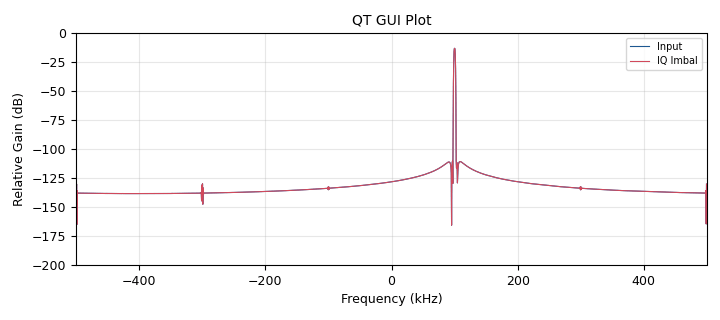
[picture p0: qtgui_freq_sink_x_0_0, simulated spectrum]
<?xml version='1.0' encoding='utf-8'?>
<?grc format='1' created='3.7.10'?>
<flow_graph>
<block>
<key>options</key>
<param><key>id</key><value>iqi</value></param>
<param><key>author</key><value>Alexandros-Apostolos A. Boulogeorgos</value></param>
<param><key>generate_options</key><value>qt_gui</value></param>
<param><key>title</key><value>I/Q imbalance</value></param>
</block>
<block>
<key>variable_qtgui_range</key>
<param><key>id</key><value>iq_mag</value></param>
<param><key>value</key><value>0</value></param>
<param><key>gui_hint</key><value>4,1,1,1</value></param>
<param><key>label</key><value>IQ Mag</value></param>
<param><key>orient</key><value>Qt.Horizontal</value></param>
<param><key>start</key><value>0</value></param>
<param><key>step</key><value>0.001</value></param>
<param><key>stop</key><value>1</value></param>
</block>
<block>
<key>variable_qtgui_range</key>
<param><key>id</key><value>iq_phase</value></param>
<param><key>value</key><value>0</value></param>
<param><key>gui_hint</key><value>3,1,1,1</value></param>
<param><key>label</key><value>IQ Phase</value></param>
<param><key>orient</key><value>Qt.Horizontal</value></param>
<param><key>start</key><value>-3.14</value></param>
<param><key>step</key><value>0.001</value></param>
<param><key>stop</key><value>3.14</value></param>
</block>
<block>
<key>variable_qtgui_range</key>
<param><key>id</key><value>noise_amp</value></param>
<param><key>value</key><value>-150</value></param>
<param><key>gui_hint</key><value>2,1,1,1</value></param>
<param><key>label</key><value>Noise Power</value></param>
<param><key>orient</key><value>Qt.Horizontal</value></param>
<param><key>start</key><value>-150</value></param>
<param><key>step</key><value>5</value></param>
<param><key>stop</key><value>0</value></param>
</block>
<block>
<key>variable</key>
<param><key>id</key><value>samp_rate</value></param>
<param><key>value</key><value>1000000</value></param>
</block>
<block>
<key>variable_qtgui_range</key>
<param><key>id</key><value>sigfreq</value></param>
<param><key>value</key><value>samp_rate/10.0</value></param>
<param><key>gui_hint</key><value>3,0,1,1</value></param>
<param><key>label</key><value>Signal Freq</value></param>
<param><key>orient</key><value>Qt.Horizontal</value></param>
<param><key>start</key><value>0</value></param>
<param><key>step</key><value>1000</value></param>
<param><key>stop</key><value>samp_rate/2</value></param>
</block>
<block>
<key>variable_qtgui_range</key>
<param><key>id</key><value>signal_amp</value></param>
<param><key>value</key><value>0</value></param>
<param><key>gui_hint</key><value>2,0,1,1</value></param>
<param><key>label</key><value>Singal Power</value></param>
<param><key>orient</key><value>Qt.Horizontal</value></param>
<param><key>start</key><value>-150</value></param>
<param><key>step</key><value>5</value></param>
<param><key>stop</key><value>10</value></param>
</block>
<block>
<key>analog_sig_source_x</key>
<param><key>id</key><value>analog_sig_source_x_0</value></param>
<param><key>amp</key><value>pow(10.0,signal_amp/20.0)</value></param>
<param><key>freq</key><value>sigfreq</value></param>
<param><key>offset</key><value>0</value></param>
<param><key>type</key><value>complex</value></param>
<param><key>samp_rate</key><value>samp_rate</value></param>
<param><key>waveform</key><value>analog.GR_COS_WAVE</value></param>
</block>
<block>
<key>blocks_throttle</key>
<param><key>id</key><value>blocks_throttle_0</value></param>
<param><key>samples_per_second</key><value>samp_rate</value></param>
<param><key>type</key><value>complex</value></param>
</block>
<block>
<key>channels_iqbal_gen</key>
<param><key>id</key><value>channels_iqbal_gen_0</value></param>
<param><key>mag</key><value>iq_mag</value></param>
<param><key>phase</key><value>iq_phase</value></param>
</block>
<block>
<key>import</key>
<param><key>id</key><value>import_0</value></param>
<param><key>import</key><value>import math</value></param>
</block>
<block>
<key>qtgui_freq_sink_x</key>
<param><key>id</key><value>qtgui_freq_sink_x_0_0</value></param>
<param><key>bw</key><value>samp_rate</value></param>
<param><key>fc</key><value>0</value></param>
<param><key>fftsize</key><value>2048</value></param>
<param><key>gui_hint</key><value>0,0,1,2</value></param>
<param><key>alpha1</key><value>0.5</value></param>
<param><key>label1</key><value>Input</value></param>
<param><key>width1</key><value>2</value></param>
<param><key>alpha2</key><value>0.5</value></param>
<param><key>label2</key><value>IQ Imbal</value></param>
<param><key>width2</key><value>2</value></param>
<param><key>name</key><value>QT GUI Plot</value></param>
<param><key>nconnections</key><value>2</value></param>
<param><key>showports</key><value>True</value></param>
<param><key>type</key><value>complex</value></param>
<param><key>wintype</key><value>firdes.WIN_FLATTOP</value></param>
<param><key>ymax</key><value>0</value></param>
<param><key>ymin</key><value>-200</value></param>
</block>
<connection><source_block_id>analog_sig_source_x_0</source_block_id><sink_block_id>blocks_throttle_0</sink_block_id><source_key>0</source_key><sink_key>0</sink_key></connection>
<connection><source_block_id>blocks_throttle_0</source_block_id><sink_block_id>channels_iqbal_gen_0</sink_block_id><source_key>0</source_key><sink_key>0</sink_key></connection>
<connection><source_block_id>blocks_throttle_0</source_block_id><sink_block_id>qtgui_freq_sink_x_0_0</sink_block_id><source_key>0</source_key><sink_key>0</sink_key></connection>
<connection><source_block_id>channels_iqbal_gen_0</source_block_id><sink_block_id>qtgui_freq_sink_x_0_0</sink_block_id><source_key>0</source_key><sink_key>1</sink_key></connection>
</flow_graph>
